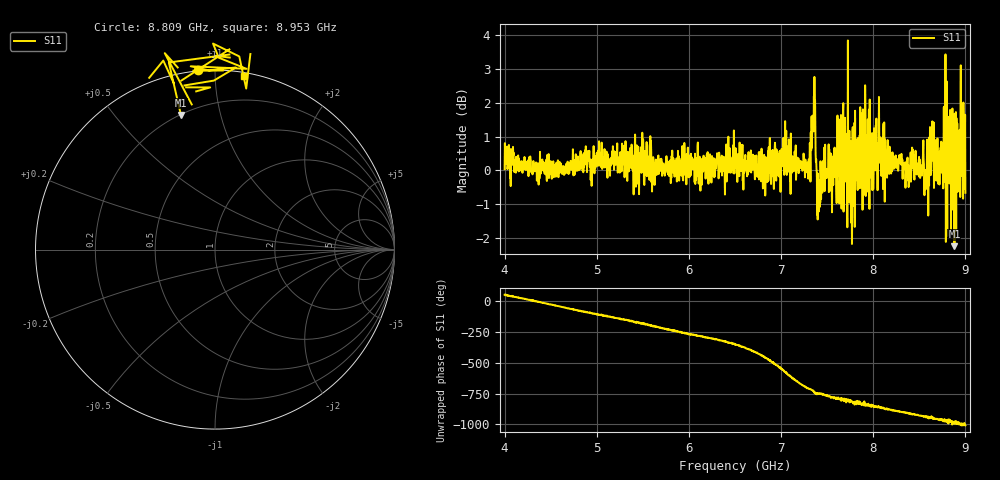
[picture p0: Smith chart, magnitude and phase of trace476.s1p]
! Created with skrf 1.8.0 (http://scikit-rf.org).
# Hz S RI R 50.0
!freq ReS11 ImS11
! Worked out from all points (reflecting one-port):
!   1601 points, 4 GHz to 9 GHz, reference 50 ohm
!   lowest |S11| = -2.2 dB at 8.881 GHz (marker M1), VSWR 7.82, Z = 10.2 + j37.9 ohm
!   phase of S11 starts at 50 deg and turns -1058 deg over the sweep
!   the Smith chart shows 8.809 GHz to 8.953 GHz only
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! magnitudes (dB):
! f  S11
! 4 GHz  0.0
! 4.625 GHz  -0.1
! 5.25 GHz  -0.1
! 5.875 GHz  0.3
! 6.5 GHz  0.2
! 6.806 GHz  0.0
! 7.031 GHz  0.7
! 7.125 GHz  0.4
! 7.294 GHz  -0.2
! 7.347 GHz  1.3
! 7.409 GHz  -1.2
! 7.453 GHz  -0.6
! 7.578 GHz  -0.1
! 7.684 GHz  -0.3
! 7.75 GHz  -0.6
! 7.769 GHz  -2.2
! 7.8 GHz  -1.7
! 7.891 GHz  0.6
! 7.981 GHz  -0.2
! 8.05 GHz  0.8
! 8.375 GHz  -0.1
! 8.581 GHz  0.1
! 8.631 GHz  0.3
! 8.697 GHz  0.9
! 8.759 GHz  -0.5
! 8.881 GHz  -2.2
! 8.972 GHz  0.4
! 9 GHz  -0.7
